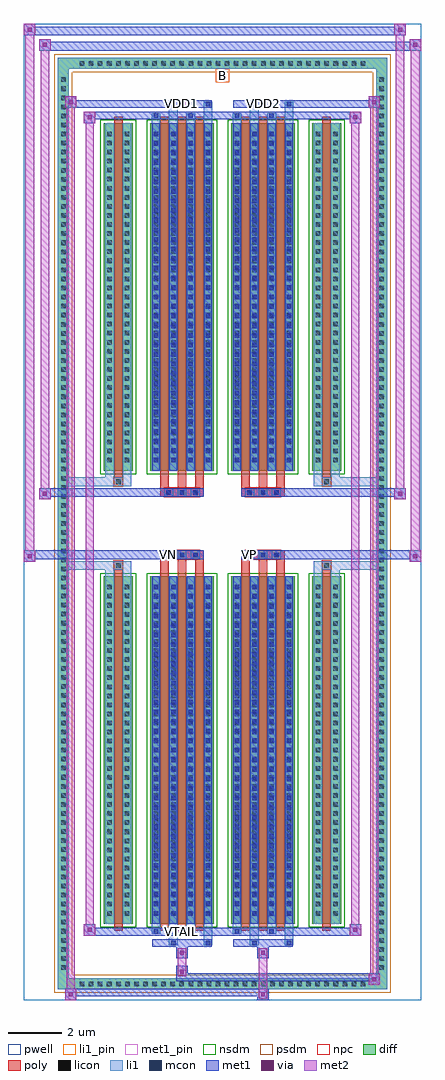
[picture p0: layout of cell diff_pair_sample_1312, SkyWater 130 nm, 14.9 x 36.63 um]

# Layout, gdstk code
import gdstk
lib = gdstk.Library(unit=1e-6, precision=5e-09)
def R(c, l, rs):  # rectangles x0, y0, x1, y1
    for r in rs: c.add(gdstk.rectangle(r[:2], r[2:], *l))
def A(c, l, x, y, w, h, nx, ny, dx, dy):  # array of equal rectangles
    R(c, l, [(x+i*dx, y+j*dy, x+i*dx+w, y+j*dy+h) for i in range(nx) for j in range(ny)])
def P(c, l, *ps):  # polygons
    for p in ps: c.add(gdstk.Polygon(p, *l))
pwell = (64, 44)
diff = (65, 20)
poly = (66, 20)
licon = (66, 44)
li1_pin = (67, 16)
li1 = (67, 20)
mcon = (67, 44)
met1_pin = (68, 16)
met1 = (68, 20)
via = (68, 44)
met2 = (69, 20)
nsdm = (93, 44)
psdm = (94, 20)
npc = (95, 20)

diff_pair_sample_1312 = lib.new_cell('diff_pair_sample_1312')
R(diff_pair_sample_1312, pwell, [(-7.45,-17.88,7.45,18.75), (-4.77,-16.07,-0.01,-0.805), (0.01,-16.07,4.77,-0.805), (-4.77,0.805,-0.01,16.07), (0.01,0.805,4.77,16.07)])
A(diff_pair_sample_1312, diff, -5.475, -17.48, 0.41, 0.41, 32, 2, 0.34, 34.55)
A(diff_pair_sample_1312, diff, -6.18, -16.865, 0.41, 0.41, 1, 99, 0, 0.34)
A(diff_pair_sample_1312, diff, 5.77, -16.865, 0.41, 0.41, 1, 99, 0, 0.34)
R(diff_pair_sample_1312, diff, [(-5.475,-17.48,5.475,-17.07), (-6.18,-16.865,-5.77,16.865), (5.77,-16.865,6.18,16.865), (-4.46,-15.025,-3.36,-1.985), (-2.72,-15.025,-0.32,-1.985), (0.32,-15.025,2.72,-1.985), (3.36,-15.025,4.46,-1.985), (-4.46,1.985,-3.36,15.025), (-2.72,1.985,-0.32,15.025), (0.32,1.985,2.72,15.025), (3.36,1.985,4.46,15.025), (-5.475,17.07,5.475,17.48)])
P(diff_pair_sample_1312, diff, [(6.18,17.48),(-6.18,17.48),(-6.18,-17.07),(-5.77,-17.07),(-5.77,17.07),(5.77,17.07),(5.77,-17.07),(-5.77,-17.07),(-6.18,-17.07),(-6.18,-17.48),(6.18,-17.48)])
A(diff_pair_sample_1312, poly, -2.33, -15.275, 0.32, 13.54, 3, 2, 0.65, 17.01)
A(diff_pair_sample_1312, poly, 0.71, -15.275, 0.32, 13.54, 3, 2, 0.65, 17.01)
A(diff_pair_sample_1312, poly, -2.33, -1.735, 0.32, 0.4, 3, 2, 0.65, 3.07)
A(diff_pair_sample_1312, poly, 0.71, -1.735, 0.32, 0.4, 3, 2, 0.65, 3.07)
A(diff_pair_sample_1312, poly, -2.185, -1.335, 0.33, 0.33, 3, 2, 0.5, 2.34)
A(diff_pair_sample_1312, poly, 0.855, -1.335, 0.33, 0.33, 3, 2, 0.5, 2.34)
R(diff_pair_sample_1312, poly, [(-4.07,-15.275,-3.75,-1.735), (3.75,-15.275,4.07,-1.735), (-4.075,-1.735,-3.745,-1.405), (-4.075,-1.735,-3.745,-1.405), (3.745,-1.735,4.075,-1.405), (3.745,-1.735,4.075,-1.405), (-2.33,-1.335,-0.71,-1.005), (0.71,-1.335,2.33,-1.005), (-2.33,1.005,-0.71,1.335), (0.71,1.005,2.33,1.335), (-4.075,1.405,-3.745,1.735), (-4.075,1.405,-3.745,1.735), (3.745,1.405,4.075,1.735), (3.745,1.405,4.075,1.735), (-4.07,1.735,-3.75,15.275), (3.75,1.735,4.07,15.275)])
A(diff_pair_sample_1312, licon, -5.355, -17.36, 0.17, 0.17, 32, 2, 0.34, 34.55)
A(diff_pair_sample_1312, licon, -6.06, -16.745, 0.17, 0.17, 1, 99, 0, 0.34)
A(diff_pair_sample_1312, licon, 5.89, -16.745, 0.17, 0.17, 1, 99, 0, 0.34)
A(diff_pair_sample_1312, licon, -4.32, -14.71, 0.17, 0.17, 1, 37, 0, 0.34)
A(diff_pair_sample_1312, licon, -3.67, -14.71, 0.17, 0.17, 1, 37, 0, 0.34)
A(diff_pair_sample_1312, licon, -2.58, -14.71, 0.17, 0.17, 4, 37, 0.65, 0.34)
A(diff_pair_sample_1312, licon, 0.46, -14.71, 0.17, 0.17, 4, 37, 0.65, 0.34)
A(diff_pair_sample_1312, licon, 3.5, -14.71, 0.17, 0.17, 1, 37, 0, 0.34)
A(diff_pair_sample_1312, licon, 4.15, -14.71, 0.17, 0.17, 1, 37, 0, 0.34)
A(diff_pair_sample_1312, licon, -2.105, -1.255, 0.17, 0.17, 3, 2, 0.5, 2.34)
A(diff_pair_sample_1312, licon, 0.935, -1.255, 0.17, 0.17, 3, 2, 0.5, 2.34)
A(diff_pair_sample_1312, licon, -4.32, 2.3, 0.17, 0.17, 1, 37, 0, 0.34)
A(diff_pair_sample_1312, licon, -3.67, 2.3, 0.17, 0.17, 1, 37, 0, 0.34)
A(diff_pair_sample_1312, licon, -2.58, 2.3, 0.17, 0.17, 4, 37, 0.65, 0.34)
A(diff_pair_sample_1312, licon, 0.46, 2.3, 0.17, 0.17, 4, 37, 0.65, 0.34)
A(diff_pair_sample_1312, licon, 3.5, 2.3, 0.17, 0.17, 1, 37, 0, 0.34)
A(diff_pair_sample_1312, licon, 4.15, 2.3, 0.17, 0.17, 1, 37, 0, 0.34)
R(diff_pair_sample_1312, licon, [(-3.995,-1.655,-3.825,-1.485), (3.825,-1.655,3.995,-1.485), (-3.995,1.485,-3.825,1.655), (3.825,1.485,3.995,1.655)])
R(diff_pair_sample_1312, li1_pin, [(-0.25,16.57,0.25,17.07)])
A(diff_pair_sample_1312, li1, -5.435, -17.44, 0.33, 0.33, 32, 2, 0.34, 34.55)
A(diff_pair_sample_1312, li1, -6.14, -16.825, 0.33, 0.33, 1, 99, 0, 0.34)
A(diff_pair_sample_1312, li1, 5.81, -16.825, 0.33, 0.33, 1, 99, 0, 0.34)
A(diff_pair_sample_1312, li1, -2.66, -15.025, 0.33, 13.04, 4, 2, 0.65, 17.01)
A(diff_pair_sample_1312, li1, 0.38, -15.025, 0.33, 13.04, 4, 2, 0.65, 17.01)
A(diff_pair_sample_1312, li1, -4.4, -14.79, 0.33, 0.33, 1, 37, 0, 0.34)
A(diff_pair_sample_1312, li1, -3.75, -14.79, 0.33, 0.33, 1, 37, 0, 0.34)
A(diff_pair_sample_1312, li1, -2.66, -14.79, 0.33, 0.33, 4, 37, 0.65, 0.34)
A(diff_pair_sample_1312, li1, 0.38, -14.79, 0.33, 0.33, 4, 37, 0.65, 0.34)
A(diff_pair_sample_1312, li1, 3.42, -14.79, 0.33, 0.33, 1, 37, 0, 0.34)
A(diff_pair_sample_1312, li1, 4.07, -14.79, 0.33, 0.33, 1, 37, 0, 0.34)
A(diff_pair_sample_1312, li1, -2.58, -14.71, 0.17, 0.17, 4, 35, 0.65, 0.36)
A(diff_pair_sample_1312, li1, -2.58, -14.71, 0.17, 12.41, 4, 2, 0.65, 17.01)
A(diff_pair_sample_1312, li1, 0.46, -14.71, 0.17, 0.17, 4, 35, 0.65, 0.36)
A(diff_pair_sample_1312, li1, 0.46, -14.71, 0.17, 12.41, 4, 2, 0.65, 17.01)
A(diff_pair_sample_1312, li1, -2.185, -1.335, 0.33, 0.33, 3, 2, 0.5, 2.34)
A(diff_pair_sample_1312, li1, 0.855, -1.335, 0.33, 0.33, 3, 2, 0.5, 2.34)
A(diff_pair_sample_1312, li1, -4.4, 2.22, 0.33, 0.33, 1, 37, 0, 0.34)
A(diff_pair_sample_1312, li1, -3.75, 2.22, 0.33, 0.33, 1, 37, 0, 0.34)
A(diff_pair_sample_1312, li1, -2.66, 2.22, 0.33, 0.33, 4, 37, 0.65, 0.34)
A(diff_pair_sample_1312, li1, 0.38, 2.22, 0.33, 0.33, 4, 37, 0.65, 0.34)
A(diff_pair_sample_1312, li1, 3.42, 2.22, 0.33, 0.33, 1, 37, 0, 0.34)
A(diff_pair_sample_1312, li1, 4.07, 2.22, 0.33, 0.33, 1, 37, 0, 0.34)
A(diff_pair_sample_1312, li1, -2.58, 2.3, 0.17, 0.17, 4, 35, 0.65, 0.36)
A(diff_pair_sample_1312, li1, 0.46, 2.3, 0.17, 0.17, 4, 35, 0.65, 0.36)
R(diff_pair_sample_1312, li1, [(-6.18,-17.48,-5.77,-17.07), (-6.18,-17.48,-5.77,-17.07), (-5.77,-17.48,5.77,-17.07), (5.77,-17.48,6.18,-17.07), (5.77,-17.48,6.18,-17.07), (-6.18,-17.07,-5.77,17.07), (5.77,-17.07,6.18,17.07), (-2.01,-15.83,-1.68,-15.025), (-1.93,-15.83,-1.76,-15.66), (-0.71,-15.83,-0.38,-15.025), (-0.63,-15.83,-0.46,-15.66), (1.03,-15.83,1.36,-15.025), (1.11,-15.83,1.28,-15.66), (2.33,-15.83,2.66,-15.025), (2.41,-15.83,2.58,-15.66), (-2.66,-15.4,-2.33,-15.025), (-2.58,-15.4,-2.41,-15.23), (-1.36,-15.4,-1.03,-15.025), (-1.28,-15.4,-1.11,-15.23), (0.38,-15.4,0.71,-15.025), (0.46,-15.4,0.63,-15.23), (1.68,-15.4,2.01,-15.025), (1.76,-15.4,1.93,-15.23), (-4.4,-15.025,-4.07,-1.985), (-3.75,-15.025,-3.42,-1.985), (3.42,-15.025,3.75,-1.985), (4.07,-15.025,4.4,-1.985), (-4.4,-1.985,-4.07,-1.405), (-3.75,-1.985,-3.42,-1.405), (3.42,-1.985,3.75,-1.405), (4.07,-1.985,4.4,-1.405), (-6.18,-1.735,-4.075,-1.405), (-4.4,-1.735,-4.075,-1.405), (-4.075,-1.735,-3.745,-1.405), (-3.745,-1.735,-3.42,-1.405), (3.42,-1.735,3.745,-1.405), (3.745,-1.735,4.075,-1.405), (3.745,-1.735,6.18,-1.405), (4.075,-1.735,4.4,-1.405), (-6.18,1.405,-4.075,1.735), (-4.4,1.405,-4.075,1.735), (-4.4,1.405,-4.07,1.985), (-4.075,1.405,-3.745,1.735), (-3.75,1.405,-3.42,1.985), (-3.745,1.405,-3.42,1.735), (3.42,1.405,3.745,1.735), (3.42,1.405,3.75,1.985), (3.745,1.405,4.075,1.735), (3.745,1.405,6.18,1.735), (4.07,1.405,4.4,1.985), (4.075,1.405,4.4,1.735), (-4.4,1.985,-4.07,15.025), (-3.75,1.985,-3.42,15.025), (3.42,1.985,3.75,15.025), (4.07,1.985,4.4,15.025), (-2.66,15.025,-2.33,15.4), (-2.01,15.025,-1.68,15.83), (-1.36,15.025,-1.03,15.4), (-0.71,15.025,-0.38,15.83), (0.38,15.025,0.71,15.4), (1.03,15.025,1.36,15.83), (1.68,15.025,2.01,15.4), (2.33,15.025,2.66,15.83), (-2.58,15.23,-2.41,15.4), (-1.28,15.23,-1.11,15.4), (0.46,15.23,0.63,15.4), (1.76,15.23,1.93,15.4), (-1.93,15.66,-1.76,15.83), (-0.63,15.66,-0.46,15.83), (1.11,15.66,1.28,15.83), (2.41,15.66,2.58,15.83), (-6.18,17.07,-5.77,17.48), (-6.18,17.07,-5.77,17.48), (-5.77,17.07,5.77,17.48), (5.77,17.07,6.18,17.48), (5.77,17.07,6.18,17.48)])
A(diff_pair_sample_1312, mcon, -2.58, -14.71, 0.17, 0.17, 4, 35, 0.65, 0.36)
A(diff_pair_sample_1312, mcon, 0.46, -14.71, 0.17, 0.17, 4, 35, 0.65, 0.36)
A(diff_pair_sample_1312, mcon, -2.105, -1.255, 0.17, 0.17, 3, 2, 0.5, 2.34)
A(diff_pair_sample_1312, mcon, 0.935, -1.255, 0.17, 0.17, 3, 2, 0.5, 2.34)
A(diff_pair_sample_1312, mcon, -2.58, 2.3, 0.17, 0.17, 4, 35, 0.65, 0.36)
A(diff_pair_sample_1312, mcon, 0.46, 2.3, 0.17, 0.17, 4, 35, 0.65, 0.36)
R(diff_pair_sample_1312, mcon, [(-1.93,-15.83,-1.76,-15.66), (-0.63,-15.83,-0.46,-15.66), (1.11,-15.83,1.28,-15.66), (2.41,-15.83,2.58,-15.66), (-2.58,-15.4,-2.41,-15.23), (-1.28,-15.4,-1.11,-15.23), (0.46,-15.4,0.63,-15.23), (1.76,-15.4,1.93,-15.23), (-2.58,15.23,-2.41,15.4), (-1.28,15.23,-1.11,15.4), (0.46,15.23,0.63,15.4), (1.76,15.23,1.93,15.4), (-1.93,15.66,-1.76,15.83), (-0.63,15.66,-0.46,15.83), (1.11,15.66,1.28,15.83), (2.41,15.66,2.58,15.83)])
R(diff_pair_sample_1312, met1_pin, [(-1.655,-15.44,-1.385,-15.17), (-2.155,-1.295,-1.885,-1.025), (0.885,-1.295,1.155,-1.025), (-1.655,15.62,-1.385,15.89), (1.385,15.62,1.655,15.89)])
A(diff_pair_sample_1312, met1, -2.64, -15.025, 0.29, 13.04, 4, 2, 0.65, 17.01)
A(diff_pair_sample_1312, met1, 0.4, -15.025, 0.29, 13.04, 4, 2, 0.65, 17.01)
A(diff_pair_sample_1312, met1, -2.64, -14.77, 0.29, 0.29, 4, 35, 0.65, 0.36)
A(diff_pair_sample_1312, met1, 0.4, -14.77, 0.29, 0.29, 4, 35, 0.65, 0.36)
A(diff_pair_sample_1312, met1, -2.165, -1.315, 0.29, 0.29, 3, 2, 0.5, 2.34)
A(diff_pair_sample_1312, met1, 0.875, -1.315, 0.29, 0.29, 3, 2, 0.5, 2.34)
A(diff_pair_sample_1312, met1, -2.64, 2.24, 0.29, 0.29, 4, 35, 0.65, 0.36)
A(diff_pair_sample_1312, met1, 0.4, 2.24, 0.29, 0.29, 4, 35, 0.65, 0.36)
R(diff_pair_sample_1312, met1, [(-5.91,-17.88,-5.48,-17.45), (1.305,-17.88,1.735,-17.45), (-5.91,-17.74,1.735,-17.45), (5.48,-17.31,5.91,-16.88), (-1.735,-17.17,5.91,-16.88), (-1.735,-17.03,-1.305,-16.6), (-1.735,-16.32,-1.305,-15.89), (1.305,-16.32,1.735,-15.89), (-2.64,-15.89,-0.4,-15.6), (-1.99,-15.89,-1.7,-15.6), (-0.69,-15.89,-0.4,-15.6), (0.4,-15.89,2.64,-15.6), (1.05,-15.89,1.34,-15.6), (2.35,-15.89,2.64,-15.6), (-5.2,-15.46,-4.77,-15.03), (-5.2,-15.46,-2.64,-15.17), (-2.64,-15.46,-2.35,-15.17), (-2.64,-15.46,-0.4,-15.17), (-1.34,-15.46,-1.05,-15.17), (-0.4,-15.46,0.4,-15.17), (0.4,-15.46,0.69,-15.17), (0.4,-15.46,2.64,-15.17), (1.7,-15.46,1.99,-15.17), (2.64,-15.46,5.2,-15.17), (4.77,-15.46,5.2,-15.03), (-7.45,-1.435,-7.02,-1.005), (7.02,-1.435,7.45,-1.005), (-7.45,-1.335,-0.71,-1.005), (-2.33,-1.335,-0.71,-1.005), (0.71,-1.335,2.33,-1.005), (0.71,-1.335,7.45,-1.005), (-6.88,0.905,-6.45,1.335), (6.45,0.905,6.88,1.335), (-6.88,1.005,-2.33,1.335), (-2.33,1.005,-0.71,1.335), (0.71,1.005,2.33,1.335), (2.33,1.005,6.88,1.335), (-5.2,15.03,-4.77,15.46), (4.77,15.03,5.2,15.46), (-5.2,15.17,-2.64,15.46), (-2.64,15.17,-2.35,15.46), (-2.64,15.17,-0.4,15.46), (-1.34,15.17,-1.05,15.46), (-0.4,15.17,0.4,15.46), (0.4,15.17,0.69,15.46), (0.4,15.17,2.64,15.46), (1.7,15.17,1.99,15.46), (2.64,15.17,5.2,15.46), (-5.91,15.6,-5.48,16.03), (-5.91,15.6,-2.64,15.89), (-2.64,15.6,-0.4,15.89), (-1.99,15.6,-1.7,15.89), (-0.69,15.6,-0.4,15.89), (0.4,15.6,2.64,15.89), (1.05,15.6,1.34,15.89), (2.35,15.6,2.64,15.89), (2.64,15.6,5.91,15.89), (5.48,15.6,5.91,16.03), (-6.88,17.75,-6.45,18.18), (-6.88,17.75,-4.77,18.08), (-4.77,17.75,4.77,18.08), (4.77,17.75,7.45,18.08), (7.02,17.75,7.45,18.18), (-7.45,18.32,-7.02,18.75), (-7.45,18.32,-4.77,18.65), (-4.77,18.32,4.77,18.65), (4.77,18.32,6.88,18.65), (6.45,18.32,6.88,18.75)])
R(diff_pair_sample_1312, via, [(-5.77,-17.74,-5.62,-17.59), (1.445,-17.74,1.595,-17.59), (5.62,-17.17,5.77,-17.02), (-1.595,-16.89,-1.445,-16.74), (-1.595,-16.18,-1.445,-16.03), (1.445,-16.18,1.595,-16.03), (-5.06,-15.32,-4.91,-15.17), (4.91,-15.32,5.06,-15.17), (-7.31,-1.295,-7.16,-1.145), (7.16,-1.295,7.31,-1.145), (-6.74,1.045,-6.59,1.195), (6.59,1.045,6.74,1.195), (-5.06,15.17,-4.91,15.32), (4.91,15.17,5.06,15.32), (-5.77,15.74,-5.62,15.89), (5.62,15.74,5.77,15.89), (-6.74,17.89,-6.59,18.04), (7.16,17.89,7.31,18.04), (-7.31,18.46,-7.16,18.61), (6.59,18.46,6.74,18.61)])
R(diff_pair_sample_1312, met2, [(-5.91,-17.88,-5.48,-17.45), (-5.84,-17.88,-5.55,16.03), (-5.55,-17.88,-5.48,-17.45), (-5.86,-17.83,-5.53,-17.5), (1.355,-17.83,1.685,-17.5), (1.355,-17.5,1.685,-16.27), (5.48,-17.31,5.91,-16.88), (5.55,-17.31,5.84,16.03), (5.84,-17.31,5.91,-16.88), (5.53,-17.26,5.86,-16.93), (-1.685,-16.98,-1.355,-16.65), (-1.685,-16.65,-1.355,-16.27), (-1.685,-16.27,-1.355,-15.94), (1.355,-16.27,1.685,-15.94), (-5.2,-15.46,-4.77,-15.03), (-5.13,-15.46,-4.84,15.46), (-4.84,-15.46,-4.77,-15.03), (4.77,-15.46,5.2,-15.03), (4.84,-15.46,5.13,15.46), (5.13,-15.46,5.2,-15.03), (-5.15,-15.41,-4.82,-15.08), (4.82,-15.41,5.15,-15.08), (-7.45,-1.435,-7.02,-1.005), (-7.4,-1.435,-7.07,18.75), (-7.07,-1.435,-7.02,-1.005), (7.02,-1.435,7.45,-1.005), (7.07,-1.435,7.4,18.18), (7.4,-1.435,7.45,-1.005), (-7.4,-1.385,-7.07,-1.055), (7.07,-1.385,7.4,-1.055), (-6.88,0.905,-6.45,1.335), (-6.83,0.905,-6.5,18.18), (-6.5,0.905,-6.45,1.335), (6.45,0.905,6.88,1.335), (6.5,0.905,6.83,18.75), (6.83,0.905,6.88,1.335), (-6.83,0.955,-6.5,1.285), (6.5,0.955,6.83,1.285), (-5.2,15.03,-4.77,15.46), (-4.84,15.03,-4.77,15.46), (4.77,15.03,5.2,15.46), (5.13,15.03,5.2,15.46), (-5.15,15.08,-4.82,15.41), (4.82,15.08,5.15,15.41), (-5.91,15.6,-5.48,16.03), (-5.55,15.6,-5.48,16.03), (5.48,15.6,5.91,16.03), (5.84,15.6,5.91,16.03), (-5.86,15.65,-5.53,15.98), (5.53,15.65,5.86,15.98), (-6.88,17.75,-6.45,18.18), (-6.5,17.75,-6.45,18.18), (7.02,17.75,7.45,18.18), (7.4,17.75,7.45,18.18), (-6.83,17.8,-6.5,18.13), (7.07,17.8,7.4,18.13), (-7.45,18.32,-7.02,18.75), (-7.07,18.32,-7.02,18.75), (6.45,18.32,6.88,18.75), (6.83,18.32,6.88,18.75), (-7.4,18.37,-7.07,18.7), (6.5,18.37,6.83,18.7)])
R(diff_pair_sample_1312, nsdm, [(-4.59,-15.155,-3.23,-1.855), (-2.85,-15.155,-0.19,-1.855), (0.19,-15.155,2.85,-1.855), (3.23,-15.155,4.59,-1.855), (-4.59,1.855,-3.23,15.155), (-2.85,1.855,-0.19,15.155), (0.19,1.855,2.85,15.155), (3.23,1.855,4.59,15.155)])
P(diff_pair_sample_1312, psdm, [(6.31,17.61),(-6.31,17.61),(-6.31,-16.94),(-5.64,-16.94),(-5.64,16.94),(5.64,16.94),(5.64,-16.94),(-5.64,-16.94),(-6.31,-16.94),(-6.31,-17.61),(6.31,-17.61)])
A(diff_pair_sample_1312, npc, -2.205, -1.355, 0.37, 0.37, 3, 2, 0.5, 2.34)
A(diff_pair_sample_1312, npc, 0.835, -1.355, 0.37, 0.37, 3, 2, 0.5, 2.34)
R(diff_pair_sample_1312, npc, [(-4.095,-1.755,-3.725,-1.385), (3.725,-1.755,4.095,-1.385), (-2.205,-1.355,-1.335,-0.985), (-2.205,-1.355,-1.335,-0.985), (-1.705,-1.355,-0.835,-0.985), (-1.705,-1.355,-0.835,-0.985), (0.835,-1.355,1.705,-0.985), (0.835,-1.355,1.705,-0.985), (1.335,-1.355,2.205,-0.985), (1.335,-1.355,2.205,-0.985), (-2.205,0.985,-1.335,1.355), (-2.205,0.985,-1.335,1.355), (-1.705,0.985,-0.835,1.355), (-1.705,0.985,-0.835,1.355), (0.835,0.985,1.705,1.355), (0.835,0.985,1.705,1.355), (1.335,0.985,2.205,1.355), (1.335,0.985,2.205,1.355), (-4.095,1.385,-3.725,1.755), (3.725,1.385,4.095,1.755)])
diff_pair_sample_1312.add(gdstk.Label('VTAIL', (-1.52,-15.305), layer=68, texttype=5))
diff_pair_sample_1312.add(gdstk.Label('VN', (-2.02,-1.16), layer=68, texttype=5))
diff_pair_sample_1312.add(gdstk.Label('VP', (1.02,-1.16), layer=68, texttype=5))
diff_pair_sample_1312.add(gdstk.Label('B', (0,16.82), layer=67, texttype=5))
diff_pair_sample_1312.add(gdstk.Label('VDD2', (1.52,15.755), layer=68, texttype=5))
diff_pair_sample_1312.add(gdstk.Label('VDD1', (-1.52,15.755), layer=68, texttype=5))

lib.write_gds('diff_pair_sample_1312.gds')
